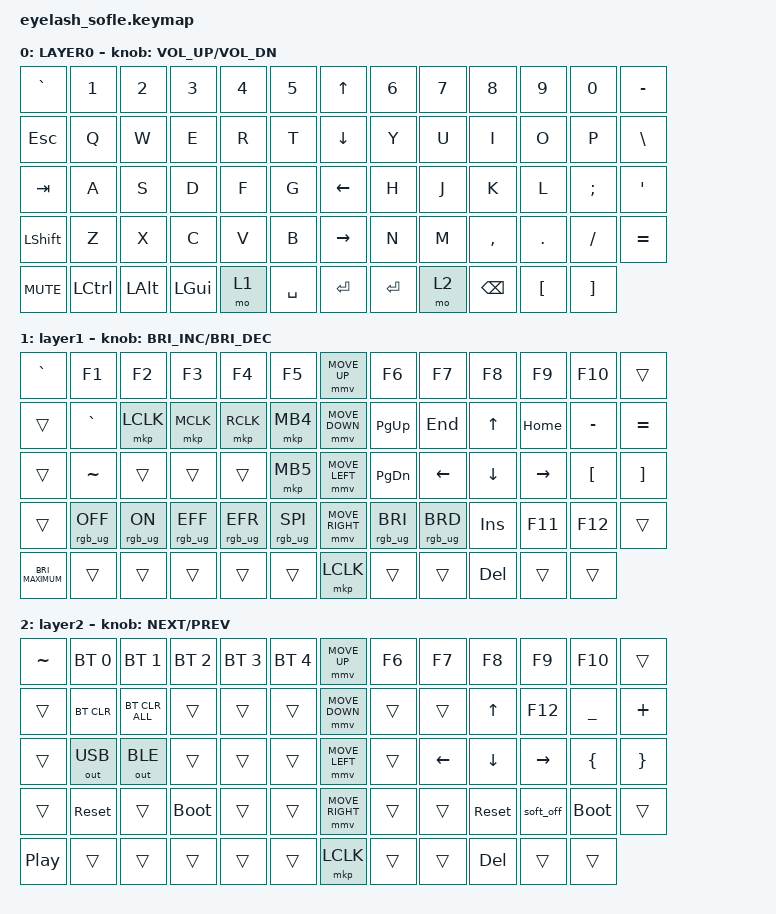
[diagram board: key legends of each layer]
#define ZMK_POINTING_DEFAULT_MOVE_VAL 1200  // 600
#define ZMK_POINTING_DEFAULT_SCRL_VAL 25   // 10

#include <input/processors.dtsi>
#include <zephyr/dt-bindings/input/input-event-codes.h>
#include <behaviors.dtsi>
#include <dt-bindings/zmk/bt.h>
#include <dt-bindings/zmk/keys.h>
#include <dt-bindings/zmk/outputs.h>
#include <dt-bindings/zmk/pointing.h>
#include <dt-bindings/zmk/rgb.h>

&mmv_input_listener { input-processors = <&zip_xy_scaler 2 1>; };

&msc_input_listener { input-processors = <&zip_scroll_scaler 2 1>; };

&msc {
    acceleration-exponent = <1>;      // 0
    time-to-max-speed-ms = <100>;       // 300
    delay-ms = <0>;                   // 0
};

&mmv {
    time-to-max-speed-ms = <500>;
    acceleration-exponent = <1>;
    trigger-period-ms = <16>;
};

&soft_off { hold-time-ms = <2000>; };

/ {
    scroll_encoder: scroll_encoder {
        compatible = "zmk,behavior-sensor-rotate";
        #sensor-binding-cells = <0>;
        bindings = <&msc SCRL_DOWN>, <&msc SCRL_UP>;

        tap-ms = <100>;
    };

    behaviors {
    };

    combos {
        compatible = "zmk,combos";

        softoff {
            bindings = <&soft_off>;
            key-positions = <14 28 40>;
        };
    };

    macros {
        SHIFT_MCLK: SHIFT_MCLK {
            compatible = "zmk,behavior-macro";
            #binding-cells = <0>;
            bindings =
                <&macro_press>,
                <&kp LEFT_SHIFT>,
                <&macro_press>,
                <&mkp MB3>,
                <&macro_pause_for_release>,
                <&macro_release>,
                <&kp LEFT_SHIFT &mkp MB3>;

            label = "SHIFT_MCLK";
        };
    };

    keymap {
        compatible = "zmk,keymap";

        layer0 {
            bindings = <
&kp GRAVE   &kp N1     &kp N2        &kp N3        &kp N4  &kp N5       &kp UP_ARROW     &kp N6     &kp N7  &kp N8         &kp N9            &kp N0             &kp MINUS
&kp ESC     &kp Q      &kp W         &kp E         &kp R   &kp T        &kp DOWN_ARROW   &kp Y      &kp U   &kp I          &kp O             &kp P              &kp BSLH
&kp TAB     &kp A      &kp S         &kp D         &kp F   &kp G        &kp LEFT_ARROW   &kp H      &kp J   &kp K          &kp L             &kp SEMI           &kp APOS
&kp LSHFT   &kp Z      &kp X         &kp C         &kp V   &kp B        &kp RIGHT_ARROW  &kp N      &kp M   &kp COMMA      &kp DOT           &kp FSLH           &kp EQUAL
&kp C_MUTE  &kp LCTRL  &kp LEFT_ALT  &kp LEFT_GUI  &mo 1   &kp SPACE    &kp ENTER        &kp ENTER  &mo 2   &kp BACKSPACE  &kp LEFT_BRACKET  &kp RIGHT_BRACKET
            >;

            sensor-bindings = <&inc_dec_kp C_VOLUME_UP C_VOL_DN>;
            display-name = "LAYER0";
        };

        layer_1 {
            bindings = <
&kp GRAVE                 &kp F1           &kp F2          &kp F3           &kp F4           &kp F5             &mmv MOVE_UP     &kp F6           &kp F7           &kp F8      &kp F9     &kp F10           &trans
&trans                    &kp GRAVE        &mkp LCLK       &mkp MCLK        &mkp RCLK        &mkp MB4           &mmv MOVE_DOWN   &kp PG_UP        &kp END          &kp UP      &kp HOME   &kp MINUS         &kp EQUAL
&trans                    &kp TILDE        &trans          &trans           &trans           &mkp MB5           &mmv MOVE_LEFT   &kp PG_DN        &kp LEFT         &kp DOWN    &kp RIGHT  &kp LEFT_BRACKET  &kp RIGHT_BRACKET
&trans                    &rgb_ug RGB_OFF  &rgb_ug RGB_ON  &rgb_ug RGB_EFF  &rgb_ug RGB_EFR  &rgb_ug RGB_SPI    &mmv MOVE_RIGHT  &rgb_ug RGB_BRI  &rgb_ug RGB_BRD  &kp INSERT  &kp F11    &kp F12           &trans
&kp C_BRIGHTNESS_MAXIMUM  &trans           &trans          &trans           &trans           &trans             &mkp LCLK        &trans           &trans           &kp DELETE  &trans     &trans
            >;

            display-name = "layer1";
            sensor-bindings = <&inc_dec_kp C_BRIGHTNESS_INC C_BRIGHTNESS_DEC>;
        };

        layer_2 {
            bindings = <
&kp TILDE         &bt BT_SEL 0  &bt BT_SEL 1    &bt BT_SEL 2  &bt BT_SEL 3  &bt BT_SEL 4    &mmv MOVE_UP     &kp F6  &kp F7          &kp F8          &kp F9           &kp F10      &trans
&trans            &bt BT_CLR    &bt BT_CLR_ALL  &trans        &trans        &trans          &mmv MOVE_DOWN   &trans  &trans          &kp UP_ARROW    &kp F12          &kp UNDER    &kp PLUS
&trans            &out OUT_USB  &out OUT_BLE    &trans        &trans        &trans          &mmv MOVE_LEFT   &trans  &kp LEFT_ARROW  &kp DOWN_ARROW  &kp RIGHT_ARROW  &kp LBRC     &kp RBRC
&trans            &sys_reset    &trans          &bootloader   &trans        &trans          &mmv MOVE_RIGHT  &trans  &trans          &sys_reset      &soft_off        &bootloader  &trans
&kp C_PLAY_PAUSE  &trans        &trans          &trans        &trans        &trans          &mkp LCLK        &trans  &trans          &kp DELETE      &trans           &trans
            >;

            display-name = "layer2";
            sensor-bindings = <&inc_dec_kp C_NEXT C_PREV>;
        };
    };
};
